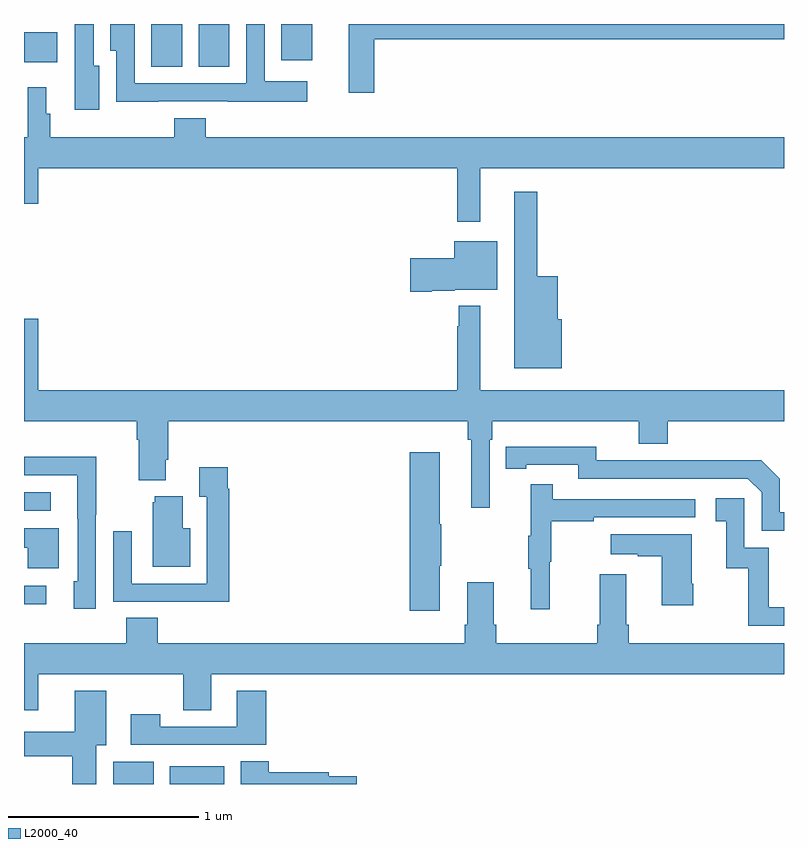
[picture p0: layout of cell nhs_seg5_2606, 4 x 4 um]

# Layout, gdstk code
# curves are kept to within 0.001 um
import gdstk
lib = gdstk.Library(unit=1e-6, precision=1e-09)
def R(c, l, rs):  # rectangles x0, y0, x1, y1
    for r in rs: c.add(gdstk.rectangle(r[:2], r[2:], *l))
def P(c, l, *ps):  # polygons
    for p in ps: c.add(gdstk.Polygon(p, *l))
L2000_40 = (2000, 40)

nhs_seg5_2606 = lib.new_cell('nhs_seg5_2606')
R(nhs_seg5_2606, L2000_40, [(261.47,906.799,261.682,906.916), (261.767,906.799,262.054,906.892), (261,907.745,261.118,907.842), (261,908.238,261.142,908.334), (261.671,910.573,261.832,910.799), (261.92,910.573,262.081,910.799), (261,910.598,261.175,910.756), (262.355,910.608,262.516,910.799)])
P(nhs_seg5_2606, L2000_40, [(261.397,910.579),(261.367,910.579),(261.367,910.799),(261.266,910.799),(261.266,910.347),(261.397,910.347)],
  [(261.707,910.392),(262.073,910.392),(262.073,910.391),(262.492,910.391),(262.492,910.498),(262.266,910.498),(262.266,910.799),(262.17,910.799),(262.17,910.488),(261.582,910.488),(261.582,910.799),(261.455,910.799),(261.455,910.657),(261.486,910.657),(261.486,910.391),(261.707,910.391)],
  [(262.844,910.72),(265,910.72),(265,910.799),(262.709,910.799),(262.709,910.437),(262.844,910.437)],
  [(261.118,910.326),(261.118,910.465),(261.021,910.465),(261.021,910.204),(261,910.204),(261,909.852),(261.076,909.852),(261.076,910.04),(263.28,910.04),(263.28,909.759),(263.401,909.759),(263.401,910.04),(265,910.04),(265,910.204),(261.956,910.204),(261.956,910.303),(261.791,910.303),(261.791,910.204),(261.137,910.204),(261.137,910.326)],
  [(263.83,909.246),(263.809,909.246),(263.809,909.472),(263.701,909.472),(263.701,909.916),(263.579,909.916),(263.579,908.987),(263.83,908.987)],
  [(263.146,909.395),(263.268,909.395),(263.268,909.401),(263.491,909.401),(263.491,909.655),(263.264,909.655),(263.264,909.567),(263.034,909.567),(263.034,909.389),(263.146,909.389)],
  [(263.451,908.612),(263.465,908.612),(263.465,908.708),(264.236,908.708),(264.236,908.591),(264.389,908.591),(264.389,908.708),(265,908.708),(265,908.872),(263.401,908.872),(263.401,909.316),(263.287,909.316),(263.287,909.209),(263.28,909.209),(263.28,908.872),(261.076,908.872),(261.076,909.247),(261,909.247),(261,908.708),(261.593,908.708),(261.593,908.612),(261.605,908.612),(261.605,908.399),(261.745,908.399),(261.745,908.506),(261.758,908.506),(261.758,908.708),(263.335,908.708),(263.335,908.612),(263.354,908.612),(263.354,908.253),(263.451,908.253)],
  [(265,908.229),(264.978,908.229),(264.978,908.406),(264.88,908.504),(264.472,908.504),(264.472,908.502),(264.012,908.502),(264.012,908.575),(263.536,908.574),(263.536,908.458),(263.644,908.458),(263.644,908.478),(263.916,908.478),(263.916,908.406),(264.81,908.406),(264.882,908.334),(264.882,908.133),(265,908.133)],
  [(263.188,907.948),(263.196,907.948),(263.196,908.165),(263.188,908.165),(263.188,908.545),(263.03,908.545),(263.03,907.71),(263.188,907.71)],
  [(261.378,908.215),(261.381,908.215),(261.381,908.522),(261,908.522),(261,908.424),(261.281,908.424),(261.281,908.194),(261.282,908.194),(261.282,907.866),(261.263,907.866),(261.263,907.722),(261.378,907.722)],
  [(262.079,908.354),(262.072,908.354),(262.072,908.467),(261.923,908.467),(261.923,908.311),(261.963,908.311),(261.963,907.854),(261.567,907.854),(261.567,908.128),(261.471,908.128),(261.471,907.758),(261.787,907.758),(261.787,907.757),(262.079,907.757)],
  [(263.768,907.968),(263.776,907.968),(263.776,908.182),(263.999,908.182),(263.999,908.202),(264.532,908.202),(264.532,908.298),(263.783,908.298),(263.783,908.377),(263.666,908.377),(263.666,908.105),(263.655,908.105),(263.655,907.931),(263.666,907.931),(263.666,907.719),(263.768,907.719)],
  [(261.874,908.146),(261.835,908.146),(261.835,908.314),(261.689,908.314),(261.689,908.283),(261.677,908.283),(261.677,907.943),(261.874,907.943)],
  [(265,907.728),(264.921,907.728),(264.921,908.043),(264.792,908.043),(264.792,908.302),(264.642,908.302),(264.642,908.181),(264.695,908.181),(264.695,907.935),(264.813,907.935),(264.813,907.632),(265,907.632)],
  [(261.184,908.146),(261,908.146),(261,908.042),(261.019,908.042),(261.019,907.934),(261.184,907.934)],
  [(264.522,907.852),(264.514,907.852),(264.514,908.113),(264.087,908.113),(264.087,908.009),(264.23,908.009),(264.23,907.999),(264.356,907.999),(264.356,907.74),(264.522,907.74)],
  [(261.985,907.376),(265,907.376),(265,907.54),(264.182,907.54),(264.182,907.636),(264.169,907.636),(264.169,907.903),(264.029,907.903),(264.029,907.636),(264.017,907.636),(264.017,907.54),(263.486,907.54),(263.486,907.636),(263.473,907.636),(263.473,907.861),(263.333,907.861),(263.333,907.636),(263.321,907.636),(263.321,907.54),(261.704,907.54),(261.704,907.673),(261.539,907.673),(261.539,907.54),(261,907.54),(261,907.188),(261.076,907.188),(261.076,907.376),(261.838,907.376),(261.838,907.186),(261.985,907.186)],
  [(262.274,907.291),(262.121,907.291),(262.121,907.101),(261.717,907.101),(261.717,907.165),(261.561,907.165),(261.561,907.005),(262.274,907.005)],
  [(261.379,907.004),(261.433,907.004),(261.433,907.291),(261.266,907.291),(261.266,907.075),(261,907.075),(261,906.946),(261.254,906.946),(261.254,906.799),(261.379,906.799)],
  [(262.751,906.84),(262.604,906.84),(262.604,906.86),(262.289,906.86),(262.289,906.92),(262.142,906.92),(262.142,906.799),(262.751,906.799)])

lib.write_gds('nhs_seg5_2606.gds')
